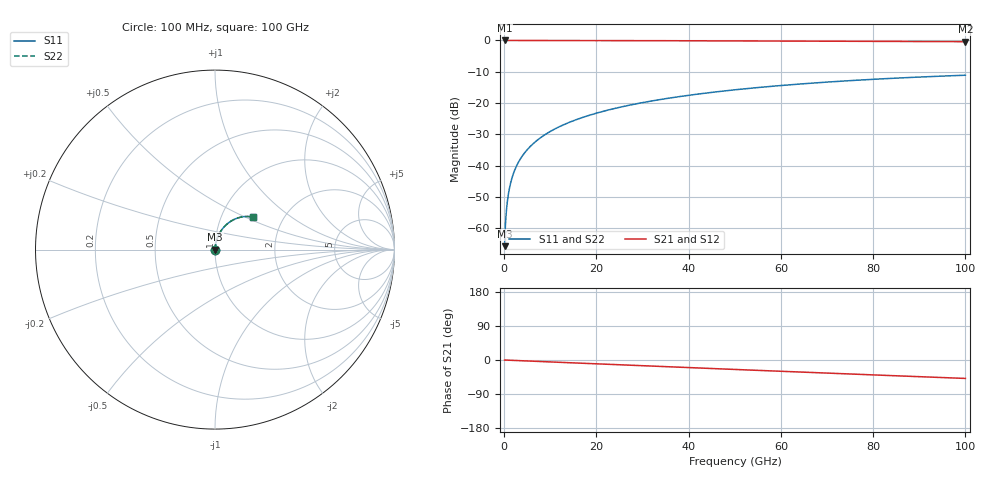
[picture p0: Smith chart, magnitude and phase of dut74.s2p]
! Touchstone file exported from HFSS 2026.1.0
!  File:  C:/ffzhzh/LocalFiles/Ansys_Project_Files/temp_train_TSV_74_1783505326_55944.aedt
!  Generated:  06:10:08 PM Jul  8, 2026
!  Design:  TSV
!  Project:  temp_train_TSV_74_1783505326_55944
! Variables:
!  h_bsmrdl = 2um
!  h_ox = 20um
!  h_rdl = 5um
!  h_sub = 93.6um
!  h_tmrdl = 5um
!  h_tsv = 93.6um
!  h_via = 3um
!  l_bsmrdl = 300um
!  l_sub = 411.98um
!  l_tmrdl = 200um
!  m_sub = 200um
!  pitch = 43.93um
!  r_tsv = 5.99um
!  s_tmrdl = 10um
!  w_bsmrdl = 18um
!  w_sub = 500um
!  w_tmrdl = 12um
!  x_tsv_center1 = 206um
!  x_tsv_center2 = 524um
!  x_tsv_center3 = 736um
!  x_tsv_center4 = 1054um
!  x_tsv_center5 = 1266um
!  x_tsv_center6 = 1584um
# GHz S MA R 50.000000
! Terminal data exported
! Port[1] = TSV1_1_T1
! Port[2] = TSV1_1_T2
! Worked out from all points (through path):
!   1000 points, 100 MHz to 100 GHz, reference 50 ohm
!   highest |S21| = 0.00 dB at 100 MHz (marker M1); lowest = -0.4 dB at 100 GHz (marker M2)
!   group delay of S21, straight-line fit = 1.35 ps
!   lowest |S11| = -65.8 dB at 100 MHz (marker M3), VSWR 1.00, Z = 50 + j0.0395 ohm
!   |S11| at or under -10 dB: start of sweep to end of sweep
!   |S22| runs from -65.8 to -11.1 dB; largest |S21 - S12| = 3.2e-15
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0.1  0.0005151 50.0  0.9997 -0.1  0.9997 -0.1  0.0005151 50.0
! Gamma 0 0 0 0
! Port Impedance 50 0 50 0
0.4  0.001577 76.1  0.9996 -0.2  0.9996 -0.2  0.001577 76.1
0.7  0.002682 80.8  0.9996 -0.4  0.9996 -0.4  0.002682 80.8
0.8  0.003051 81.6  0.9996 -0.4  0.9996 -0.4  0.003051 81.6
1.1  0.004157 83.0  0.9995 -0.6  0.9995 -0.6  0.004157 83.0
1.4  0.005257 83.6  0.9995 -0.7  0.9995 -0.7  0.005257 83.6
1.9  0.007068 84.1  0.9994 -1.0  0.9994 -1.0  0.007068 84.1
2.4  0.008855 84.2  0.9993 -1.2  0.9993 -1.2  0.008855 84.2
3  0.01097 84.3  0.9991 -1.6  0.9991 -1.6  0.01097 84.3
3.8  0.01377 84.2  0.999 -2.0  0.999 -2.0  0.01377 84.2
4.8  0.01723 84.1  0.9988 -2.5  0.9988 -2.5  0.01724 84.1
6  0.02138 83.8  0.9986 -3.1  0.9986 -3.1  0.02138 83.8
8.8  0.031 82.9  0.9981 -4.5  0.9981 -4.5  0.031 82.9
12.4  0.04327 81.5  0.9974 -6.3  0.9974 -6.3  0.04328 81.5
16.8  0.05811 79.5  0.9963 -8.5  0.9963 -8.5  0.05811 79.5
24.2  0.08266 76.2  0.9942 -12.2  0.9942 -12.2  0.08266 76.2
33.4  0.1123 71.8  0.9909 -16.8  0.9909 -16.8  0.1123 71.8
41.2  0.1365 68.1  0.9876 -20.6  0.9876 -20.6  0.1365 68.1
50.1  0.1628 63.9  0.9834 -25.0  0.9834 -25.0  0.1628 63.9
66.7  0.2078 56.0  0.9745 -33.0  0.9745 -33.0  0.2078 56.0
83.4  0.2466 48.2  0.9651 -40.9  0.9651 -40.9  0.2466 48.2
100  0.2781 40.6  0.9562 -48.6  0.9562 -48.6  0.2781 40.6
